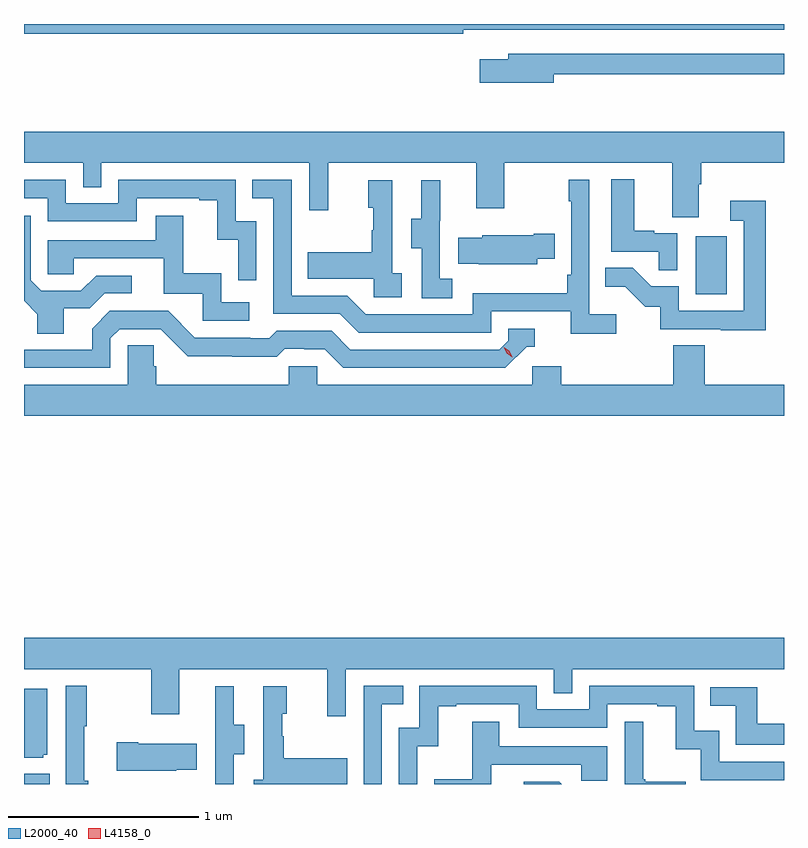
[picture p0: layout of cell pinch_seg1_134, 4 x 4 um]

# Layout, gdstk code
import gdstk
lib = gdstk.Library(unit=1e-6, precision=1e-09)
def R(c, l, rs):  # rectangles x0, y0, x1, y1
    for r in rs: c.add(gdstk.rectangle(r[:2], r[2:], *l))
def P(c, l, *ps):  # polygons
    for p in ps: c.add(gdstk.Polygon(p, *l))
L2000_40 = (2000, 40)
L4158_0 = (4158, 0)

pinch_seg1_134 = lib.new_cell('pinch_seg1_134')
R(pinch_seg1_134, L2000_40, [(1032.511,555.123,1032.647,555.176), (1036.046,557.7,1036.21,558.007)])
P(pinch_seg1_134, L2000_40, [(1034.822,559.092),(1036.511,559.092),(1036.511,559.123),(1032.511,559.123),(1032.511,559.072),(1034.822,559.072)],
  [(1035.298,558.858),(1036.511,558.858),(1036.511,558.966),(1035.059,558.966),(1035.059,558.937),(1034.91,558.937),(1034.91,558.815),(1035.298,558.815)],
  [(1036.063,558.28),(1036.076,558.28),(1036.076,558.392),(1036.511,558.392),(1036.511,558.556),(1032.511,558.556),(1032.511,558.392),(1032.822,558.392),(1032.822,558.265),(1032.918,558.265),(1032.918,558.392),(1034.013,558.392),(1034.013,558.144),(1034.111,558.144),(1034.111,558.392),(1034.891,558.392),(1034.891,558.153),(1035.039,558.153),(1035.039,558.392),(1035.923,558.392),(1035.923,558.106),(1036.063,558.106)],
  [(1035.948,558.021),(1035.827,558.021),(1035.827,558.034),(1035.724,558.034),(1035.724,558.307),(1035.602,558.307),(1035.602,557.925),(1035.853,557.925),(1035.853,557.827),(1035.948,557.827)],
  [(1035.628,557.596),(1035.486,557.596),(1035.486,558.304),(1035.378,558.304),(1035.378,558.191),(1035.39,558.191),(1035.39,557.803),(1035.37,557.803),(1035.37,557.707),(1034.874,557.707),(1034.874,557.595),(1034.31,557.595),(1034.211,557.694),(1033.92,557.694),(1033.92,558.303),(1033.711,558.303),(1033.711,558.207),(1033.824,558.207),(1033.824,557.598),(1034.174,557.598),(1034.273,557.499),(1034.97,557.499),(1034.97,557.61),(1035.389,557.61),(1035.389,557.494),(1035.628,557.494)],
  [(1033.734,558.084),(1033.626,558.084),(1033.626,558.303),(1033.008,558.303),(1033.008,558.18),(1032.732,558.18),(1032.732,558.303),(1032.511,558.303),(1032.511,558.207),(1032.636,558.207),(1032.636,558.084),(1033.104,558.084),(1033.104,558.207),(1033.433,558.207),(1033.433,558.195),(1033.529,558.195),(1033.529,557.987),(1033.638,557.987),(1033.638,557.775),(1033.734,557.775)],
  [(1034.764,557.783),(1034.7,557.783),(1034.7,558.087),(1034.702,558.087),(1034.702,558.301),(1034.603,558.301),(1034.603,558.099),(1034.549,558.099),(1034.549,557.944),(1034.604,557.944),(1034.604,557.68),(1034.764,557.68)],
  [(1034.5,557.81),(1034.448,557.81),(1034.448,558.301),(1034.324,558.301),(1034.324,558.156),(1034.35,558.156),(1034.35,558.038),(1034.34,558.038),(1034.34,557.923),(1034.005,557.923),(1034.005,557.783),(1034.352,557.783),(1034.352,557.685),(1034.5,557.685)],
  [(1036.415,558.193),(1036.227,558.193),(1036.227,558.087),(1036.299,558.087),(1036.299,557.613),(1035.957,557.613),(1035.957,557.742),(1035.812,557.742),(1035.714,557.84),(1035.571,557.84),(1035.571,557.741),(1035.675,557.741),(1035.782,557.634),(1035.859,557.634),(1035.859,557.517),(1036.177,557.517),(1036.177,557.512),(1036.415,557.512)],
  [(1033.696,557.658),(1033.548,557.658),(1033.548,557.812),(1033.349,557.812),(1033.349,558.115),(1033.205,558.115),(1033.205,557.985),(1032.636,557.985),(1032.636,557.805),(1032.773,557.805),(1032.773,557.889),(1033.247,557.889),(1033.247,557.703),(1033.452,557.703),(1033.452,557.562),(1033.696,557.562)],
  [(1032.721,557.626),(1032.856,557.626),(1032.936,557.706),(1033.078,557.706),(1033.078,557.799),(1032.89,557.799),(1032.809,557.718),(1032.603,557.718),(1032.546,557.775),(1032.546,558.115),(1032.511,558.115),(1032.511,557.666),(1032.581,557.596),(1032.581,557.494),(1032.721,557.494)],
  [(1035.211,557.888),(1035.305,557.888),(1035.305,558.018),(1035.194,558.018),(1035.194,558.01),(1034.922,558.01),(1034.922,557.998),(1034.797,557.998),(1034.797,557.861),(1034.905,557.861),(1034.905,557.858),(1035.211,557.858)],
  [(1032.966,557.469),(1033.014,557.517),(1033.23,557.517),(1033.372,557.375),(1033.608,557.375),(1033.608,557.373),(1033.841,557.373),(1033.883,557.415),(1033.986,557.415),(1033.986,557.412),(1034.093,557.412),(1034.192,557.313),(1035.045,557.313),(1035.156,557.424),(1035.199,557.424),(1035.199,557.52),(1035.06,557.52),(1035.06,557.457),(1035.012,557.409),(1034.229,557.409),(1034.13,557.508),(1033.841,557.508),(1033.802,557.469),(1033.703,557.469),(1033.703,557.472),(1033.41,557.472),(1033.269,557.613),(1032.963,557.613),(1032.869,557.519),(1032.869,557.409),(1032.511,557.409),(1032.511,557.313),(1032.966,557.313)],
  [(1036.511,557.224),(1036.094,557.224),(1036.094,557.432),(1035.929,557.432),(1035.929,557.224),(1035.338,557.224),(1035.338,557.322),(1035.186,557.322),(1035.186,557.224),(1034.055,557.224),(1034.055,557.322),(1033.905,557.322),(1033.905,557.224),(1033.208,557.224),(1033.208,557.322),(1033.193,557.322),(1033.193,557.432),(1033.056,557.432),(1033.056,557.224),(1032.511,557.224),(1032.511,557.06),(1036.511,557.06)],
  [(1034.205,555.728),(1035.3,555.728),(1035.3,555.601),(1035.396,555.601),(1035.396,555.728),(1036.511,555.728),(1036.511,555.892),(1032.511,555.892),(1032.511,555.728),(1033.18,555.728),(1033.18,555.489),(1033.327,555.489),(1033.327,555.728),(1034.108,555.728),(1034.108,555.48),(1034.205,555.48)],
  [(1032.848,555.139),(1032.829,555.139),(1032.829,555.427),(1032.841,555.427),(1032.841,555.64),(1032.732,555.64),(1032.732,555.123),(1032.848,555.123)],
  [(1034.58,555.323),(1034.69,555.323),(1034.69,555.531),(1034.785,555.531),(1034.785,555.543),(1035.114,555.543),(1035.114,555.42),(1035.582,555.42),(1035.582,555.543),(1035.845,555.543),(1035.845,555.531),(1035.941,555.531),(1035.941,555.305),(1036.074,555.305),(1036.074,555.144),(1036.511,555.144),(1036.511,555.24),(1036.17,555.24),(1036.17,555.403),(1036.038,555.403),(1036.038,555.639),(1035.486,555.639),(1035.486,555.516),(1035.21,555.516),(1035.21,555.639),(1034.592,555.639),(1034.592,555.42),(1034.484,555.42),(1034.484,555.123),(1034.58,555.123)],
  [(1034.394,555.543),(1034.507,555.543),(1034.507,555.639),(1034.298,555.639),(1034.298,555.123),(1034.394,555.123)],
  [(1033.614,555.28),(1033.669,555.28),(1033.669,555.435),(1033.615,555.435),(1033.615,555.637),(1033.517,555.637),(1033.517,555.423),(1033.518,555.423),(1033.518,555.123),(1033.614,555.123)],
  [(1034.213,555.259),(1033.879,555.259),(1033.879,555.374),(1033.869,555.374),(1033.869,555.492),(1033.894,555.492),(1033.894,555.637),(1033.77,555.637),(1033.77,555.146),(1033.719,555.146),(1033.719,555.123),(1034.213,555.123)],
  [(1036.511,555.439),(1036.369,555.439),(1036.369,555.633),(1036.123,555.633),(1036.123,555.536),(1036.257,555.536),(1036.257,555.33),(1036.511,555.33)],
  [(1032.612,555.276),(1032.634,555.276),(1032.634,555.625),(1032.511,555.625),(1032.511,555.261),(1032.612,555.261)],
  [(1035.994,555.136),(1035.781,555.136),(1035.781,555.148),(1035.769,555.148),(1035.769,555.451),(1035.672,555.451),(1035.672,555.123),(1035.994,555.123)],
  [(1034.971,555.225),(1035.445,555.225),(1035.445,555.141),(1035.582,555.141),(1035.582,555.321),(1035.013,555.321),(1035.013,555.451),(1034.869,555.451),(1034.869,555.148),(1034.67,555.148),(1034.67,555.123),(1034.971,555.123)],
  [(1033.313,555.197),(1033.421,555.197),(1033.421,555.334),(1033.111,555.334),(1033.111,555.342),(1032.999,555.342),(1032.999,555.194),(1033.313,555.194)],
  [(1035.328,555.135),(1035.141,555.135),(1035.141,555.123),(1035.34,555.123)])
P(pinch_seg1_134, L4158_0, [(1035.082,557.37),(1035.051,557.39),(1035.035,557.422),(1035.035,557.423),(1035.036,557.423),(1035.066,557.403),(1035.082,557.37),(1035.082,557.37)])

lib.write_gds('pinch_seg1_134.gds')
